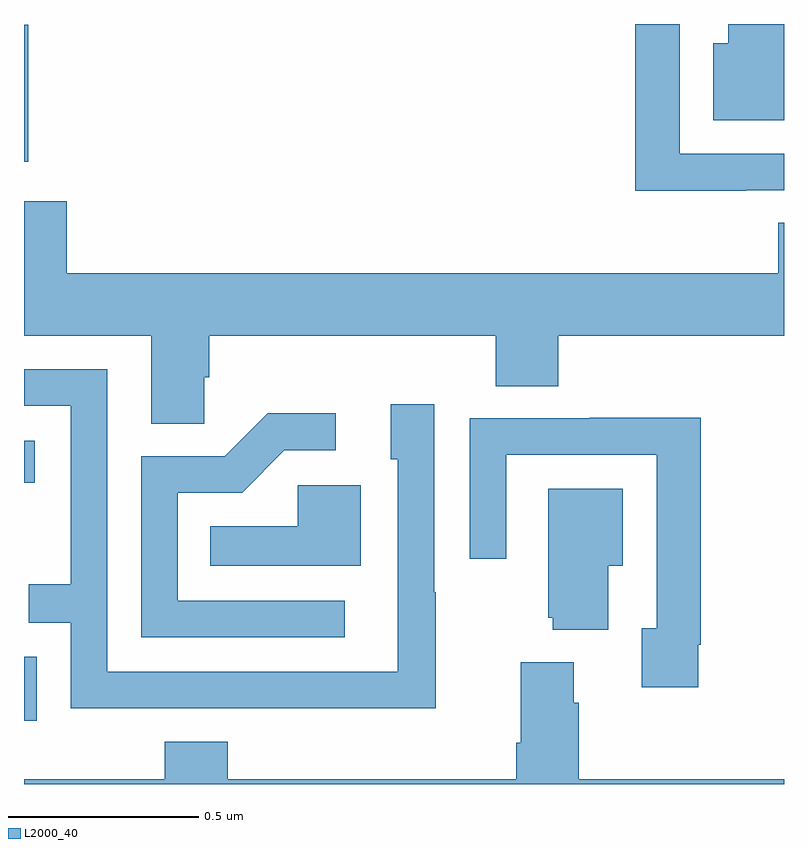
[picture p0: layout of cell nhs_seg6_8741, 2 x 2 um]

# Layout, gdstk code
import gdstk
lib = gdstk.Library(unit=1e-6, precision=1e-09)
def R(c, l, rs):  # rectangles x0, y0, x1, y1
    for r in rs: c.add(gdstk.rectangle(r[:2], r[2:], *l))
def P(c, l, *ps):  # polygons
    for p in ps: c.add(gdstk.Polygon(p, *l))
L2000_40 = (2000, 40)

nhs_seg6_8741 = lib.new_cell('nhs_seg6_8741')
R(nhs_seg6_8741, L2000_40, [(225,935.667,225.033,935.835), (225,936.293,225.028,936.403), (225,937.137,225.011,937.498)])
P(nhs_seg6_8741, L2000_40, [(227,937.5),(226.853,937.5),(226.853,937.45),(226.814,937.45),(226.814,937.247),(227,937.247)],
  [(226.901,937.062),(227,937.062),(227,937.158),(226.725,937.158),(226.725,937.5),(226.609,937.5),(226.609,937.061),(226.901,937.061)],
  [(225.474,936.571),(225.488,936.571),(225.488,936.68),(226.241,936.68),(226.241,936.547),(226.406,936.547),(226.406,936.68),(227,936.68),(227,936.977),(226.985,936.977),(226.985,936.844),(225.112,936.844),(225.112,937.033),(225,937.033),(225,936.68),(225.335,936.68),(225.335,936.448),(225.474,936.448)],
  [(226.083,936.005),(226.08,936.005),(226.08,936.499),(225.965,936.499),(225.965,936.354),(225.984,936.354),(225.984,936.023),(225.983,936.023),(225.983,935.796),(225.219,935.796),(225.219,936.591),(225,936.591),(225,936.495),(225.123,936.495),(225.123,936.026),(225.013,936.026),(225.013,935.925),(225.123,935.925),(225.123,935.7),(225.619,935.7),(225.619,935.699),(226.083,935.699)],
  [(225.844,935.982),(225.405,935.982),(225.405,936.267),(225.574,936.267),(225.685,936.378),(225.82,936.378),(225.82,936.476),(225.641,936.476),(225.528,936.363),(225.309,936.363),(225.309,935.886),(225.844,935.886)],
  [(226.774,935.866),(226.781,935.866),(226.781,936.464),(226.489,936.464),(226.489,936.462),(226.173,936.462),(226.173,936.093),(226.269,936.093),(226.269,936.366),(226.665,936.366),(226.665,935.91),(226.625,935.91),(226.625,935.754),(226.774,935.754)],
  [(225.886,936.286),(225.721,936.286),(225.721,936.178),(225.49,936.178),(225.49,936.074),(225.886,936.074)],
  [(226.537,936.074),(226.576,936.074),(226.576,936.277),(226.379,936.277),(226.379,935.937),(226.391,935.937),(226.391,935.906),(226.537,935.906)],
  [(227,935.512),(226.46,935.512),(226.46,935.714),(226.447,935.714),(226.447,935.821),(226.307,935.821),(226.307,935.608),(226.295,935.608),(226.295,935.512),(225.536,935.512),(225.536,935.611),(225.371,935.611),(225.371,935.512),(225,935.512),(225,935.5),(227,935.5)])

lib.write_gds('nhs_seg6_8741.gds')
